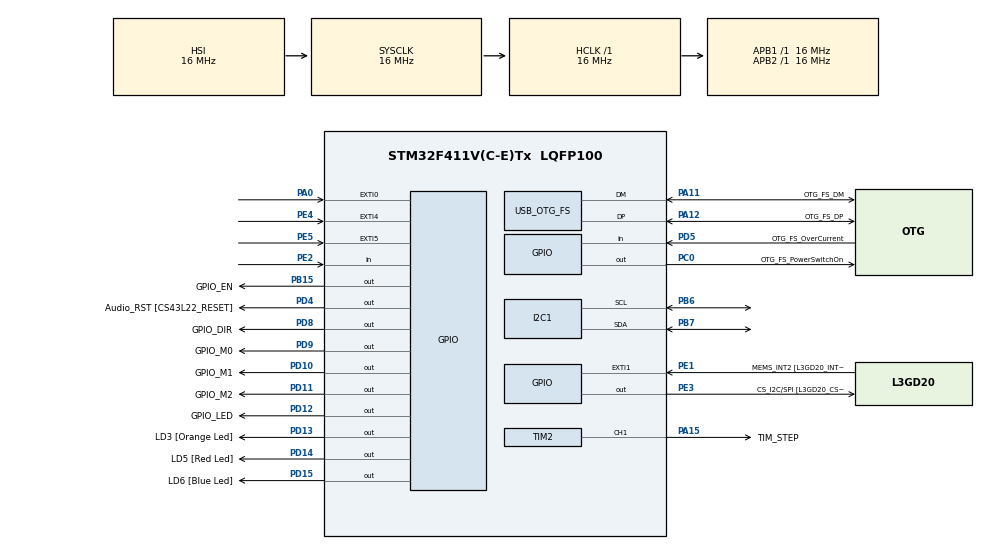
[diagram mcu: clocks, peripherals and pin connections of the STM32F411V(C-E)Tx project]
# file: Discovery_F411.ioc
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FREERTOS.Tasks01=defaultTask,24,128,StartDefaultTask,Default,NULL,Dynamic,NULL,NULL
FREERTOS.configUSE_NEWLIB_REENTRANT=1
Mcu.Family=STM32F4
Mcu.Name=STM32F411V(C-E)Tx
Mcu.Package=LQFP100
NVIC.EXTI0_IRQn=true\:5\:0\:false\:false\:true\:true\:true\:true\:true
NVIC.OTG_FS_IRQn=true\:5\:0\:false\:false\:true\:true\:false\:true\:true
NVIC.PVD_IRQn=true\:5\:0\:false\:false\:true\:true\:true\:true\:true
NVIC.PriorityGroup=NVIC_PRIORITYGROUP_4
NVIC.RCC_IRQn=true\:5\:0\:false\:false\:true\:true\:true\:false\:true
NVIC.TIM1_UP_TIM10_IRQn=true\:5\:0\:false\:false\:true\:true\:true\:true\:true
NVIC.TIM2_IRQn=true\:5\:0\:false\:false\:true\:true\:true\:true\:true
NVIC.TIM5_IRQn=true\:15\:0\:false\:false\:true\:false\:false\:true\:true
NVIC.TimeBase=TIM5_IRQn
NVIC.TimeBaseIP=TIM5
PA0-WKUP.Signal=GPXTI0
PA10.GPIO_Label=OTG_FS_ID
PA10.Signal=USB_OTG_FS_ID
PA11.GPIO_Label=OTG_FS_DM
PA11.Mode=Device_Only
PA11.Signal=USB_OTG_FS_DM
PA12.GPIO_Label=OTG_FS_DP
PA12.Mode=Device_Only
PA12.Signal=USB_OTG_FS_DP
PA13.GPIO_Label=SWDIO
PA13.Mode=Serial_Wire
PA13.Signal=SYS_JTMS-SWDIO
PA14.GPIO_Label=SWCLK
PA14.Mode=Serial_Wire
PA14.Signal=SYS_JTCK-SWCLK
PA15.GPIO_Label=TIM_STEP
PA15.Signal=S_TIM2_CH1_ETR
PA4.GPIO_Label=I2S3_WS [CS43L22_LRCK]
PA4.GPIO_Mode=GPIO_MODE_AF_PP
PA4.GPIO_PuPd=GPIO_NOPULL
PA4.GPIO_Speed=GPIO_SPEED_FREQ_LOW
PA4.Signal=I2S3_WS
PA5.GPIO_Label=SPI1_SCK [L3GD20_SC/SPC]
PA5.Signal=SPI1_SCK
PA6.GPIO_Label=SPI1_MISO [L3GD20_AS0/SDO]
PA6.Signal=SPI1_MISO
PA7.GPIO_Label=SPI1_MOSI [L3GD20_SDA/SDI/SDO]
PA7.Signal=SPI1_MOSI
PA9.GPIO_Label=VBUS_FS
PA9.Signal=USB_OTG_FS_VBUS
PB10.GPIO_Label=CLK_IN [MP45DT02_CLK]
PB10.Signal=I2S2_CK
PB12.Signal=I2S2_WS
PB15.GPIO_Label=GPIO_EN
PB15.Signal=GPIO_Output
PB3.GPIO_Label=SWO
PB3.Signal=SYS_JTDO-SWO
PB6.Mode=I2C
PB6.Signal=I2C1_SCL
PB7.Mode=I2C
PB7.Signal=I2C1_SDA
PC0.GPIO_Label=OTG_FS_PowerSwitchOn
PC0.PinState=GPIO_PIN_SET
PC0.Signal=GPIO_Output
PC10.GPIO_Label=I2S3_SCK [CS43L22_SCLK]
PC10.GPIO_Mode=GPIO_MODE_AF_PP
PC10.GPIO_PuPd=GPIO_NOPULL
PC10.GPIO_Speed=GPIO_SPEED_FREQ_LOW
PC10.Signal=I2S3_CK
PC12.GPIO_Label=I2S3_SD [CS43L22_SDIN]
PC12.GPIO_Mode=GPIO_MODE_AF_PP
PC12.GPIO_PuPd=GPIO_NOPULL
PC12.GPIO_Speed=GPIO_SPEED_FREQ_LOW
PC12.Signal=I2S3_SD
PC14-OSC32_IN.GPIO_Label=PC14-OSC32_IN
PC14-OSC32_IN.Signal=RCC_OSC32_IN
PC15-OSC32_OUT.GPIO_Label=PC15-OSC32_OUT
PC15-OSC32_OUT.Signal=RCC_OSC32_OUT
PC3.GPIO_Label=PDM_OUT [MP45DT02_DOUT]
PC3.Signal=I2S2_SD
PC7.GPIO_Label=I2S3_MCK [CS43L22_MCLK]
PC7.GPIO_Mode=GPIO_MODE_AF_PP
PC7.GPIO_PuPd=GPIO_NOPULL
PC7.GPIO_Speed=GPIO_SPEED_FREQ_LOW
PC7.Signal=I2S3_MCK
PD10.GPIO_Label=GPIO_M1
PD10.Signal=GPIO_Output
PD11.GPIO_Label=GPIO_M2
PD11.Signal=GPIO_Output
PD12.GPIO_Label=GPIO_LED
PD12.GPIO_PuPd=GPIO_NOPULL
PD12.GPIO_Speed=GPIO_SPEED_FREQ_LOW
PD12.Signal=GPIO_Output
PD13.GPIO_Label=LD3 [Orange Led]
PD13.GPIO_PuPd=GPIO_NOPULL
PD13.GPIO_Speed=GPIO_SPEED_FREQ_LOW
PD13.Signal=GPIO_Output
PD14.GPIO_Label=LD5 [Red Led]
PD14.GPIO_PuPd=GPIO_NOPULL
PD14.GPIO_Speed=GPIO_SPEED_FREQ_LOW
PD14.Signal=GPIO_Output
PD15.GPIO_Label=LD6 [Blue Led]
PD15.GPIO_PuPd=GPIO_NOPULL
PD15.GPIO_Speed=GPIO_SPEED_FREQ_LOW
PD15.Signal=GPIO_Output
PD4.GPIO_Label=Audio_RST [CS43L22_RESET]
PD4.Signal=GPIO_Output
PD5.GPIO_Label=OTG_FS_OverCurrent
PD5.Signal=GPIO_Input
PD8.GPIO_Label=GPIO_DIR
PD8.Signal=GPIO_Output
PD9.GPIO_Label=GPIO_M0
PD9.Signal=GPIO_Output
PE1.GPIO_Label=MEMS_INT2 [L3GD20_INT2]
PE1.GPIO_ModeDefaultEXTI=GPIO_MODE_EVT_RISING
PE1.Signal=GPXTI1
PE2.Signal=GPIO_Input
PE3.GPIO_Label=CS_I2C/SPI [L3GD20_CS_I2C/SPI]
PE3.Signal=GPIO_Output
PE4.GPIO_ModeDefaultEXTI=GPIO_MODE_EVT_RISING
PE4.Signal=GPXTI4
PE5.GPIO_ModeDefaultEXTI=GPIO_MODE_EVT_RISING
PE5.Signal=GPXTI5
PH0\ -\ OSC_IN.GPIO_Label=PH0-OSC_IN
PH0\ -\ OSC_IN.Mode=HSE-External-Oscillator
PH0\ -\ OSC_IN.Signal=RCC_OSC_IN
PH1\ -\ OSC_OUT.GPIO_Label=PH1-OSC_OUT
PH1\ -\ OSC_OUT.Mode=HSE-External-Oscillator
PH1\ -\ OSC_OUT.Signal=RCC_OSC_OUT
ProjectManager.HeapSize=0x200
ProjectManager.StackSize=0x400
ProjectManager.TargetToolchain=STM32CubeIDE
RCC.48MHZClocksFreq_Value=48000000
RCC.AHBFreq_Value=16000000
RCC.APB1Freq_Value=16000000
RCC.APB1TimFreq_Value=16000000
RCC.APB2Freq_Value=16000000
RCC.APB2TimFreq_Value=16000000
RCC.CortexFreq_Value=16000000
RCC.HCLKFreq_Value=16000000
RCC.HSE_VALUE=16000000
RCC.HSI_VALUE=16000000
RCC.LSE_VALUE=32768
RCC.PLLI2SM=5
RCC.PLLI2SN=200
RCC.PLLM=8
RCC.PLLP=RCC_PLLP_DIV4
RCC.PLLQ=8
RCC.SYSCLKFreq_VALUE=16000000
RCC.VCOOutputFreq_Value=384000000
SH.S_TIM2_CH1_ETR.0=TIM2_CH1,Output Compare1 CH1
TIM1.AutoReloadPreload=TIM_AUTORELOAD_PRELOAD_ENABLE
TIM1.Period=999
TIM1.Prescaler=15
TIM2.Channel-Output\ Compare1\ CH1=TIM_CHANNEL_1
TIM2.Period=65536
TIM2.Prescaler=15
USB_DEVICE.CLASS_NAME_FS=CUSTOM_HID
USB_DEVICE.VirtualMode=CustomHid
USB_DEVICE.VirtualModeFS=Custom_Hid_FS
USB_OTG_FS.VirtualMode=Device_Only
VP_FREERTOS_VS_CMSIS_V2.Mode=CMSIS_V2
VP_SYS_VS_tim5.Mode=TIM5
VP_TIM1_VS_ClockSourceINT.Mode=Internal
VP_TIM2_VS_ClockSourceINT.Mode=Internal
VP_USB_DEVICE_VS_USB_DEVICE_CUSTOM_HID_FS.Mode=CUSTOM_HID_FS
board=STM32F411E-DISCO

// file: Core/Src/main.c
/* USER CODE BEGIN Header */
/**
  ******************************************************************************
  * @file           : main.c
  * @brief          : Main program body
  ******************************************************************************
  * @attention
  *
  * Copyright (c) 2026 STMicroelectronics.
  * All rights reserved.
  *
  * This software is licensed under terms that can be found in the LICENSE file
  * in the root directory of this software component.
  * If no LICENSE file comes with this software, it is provided AS-IS.
  *
  ******************************************************************************
  */
/* USER CODE END Header */
#include "main.h"
#include "cmsis_os.h"
#include "i2c.h"
#include "tim.h"
#include "usb_device.h"
#include "gpio.h"

/* USER CODE BEGIN Includes */
#include "FreeRTOS.h"
#include "task.h"
#include "semphr.h"
#include "stepper.h"

/* USER CODE END Includes */

/* USER CODE BEGIN PTD */

// Estructura para almacenar los datos procesados
typedef struct {
    uint16_t raw_angle;
    int32_t rotations;
    float total_degrees;
} EncoderData_t;

/* USER CODE END PTD */

/* USER CODE BEGIN PD */
#define AS5600_ADDR (0x36 << 1)
#define ANGLE_REG_MSB 0x0E

/* USER CODE END PD */

/* USER CODE BEGIN PV */
EncoderData_t sensor_data = {0};
Stepper_Handler motor = {0};
SemaphoreHandle_t xBinarySemaphore = NULL;
SemaphoreHandle_t xEndMovementSemaphore = NULL;

/* USER CODE END PV */

void SystemClock_Config(void);
void MX_FREERTOS_Init(void);
/* USER CODE BEGIN PFP */
void AppInit(void * pvParameters);
void StartStepperTask(void *argument);
void StartEncoderTask(void *argument);
/* USER CODE END PFP */

int main(void)
{

  /* MCU Configuration--------------------------------------------------------*/

  /* Reset of all peripherals, Initializes the Flash interface and the Systick. */
  HAL_Init();

  /* Configure the system clock */
  SystemClock_Config();

  /* Initialize all configured peripherals */
  MX_GPIO_Init();
  MX_I2C1_Init();
  MX_TIM1_Init();
  MX_TIM2_Init();
  /* USER CODE BEGIN 2 */

  xTaskCreate(AppInit, "TaskCreate", 100, NULL, 3, NULL);
  vTaskStartScheduler();
  /* USER CODE END 2 */

  /* Init scheduler */
  osKernelInitialize();  /* Call init function for freertos objects (in cmsis_os2.c) */
  MX_FREERTOS_Init();

  /* Start scheduler */
  osKernelStart();

  /* We should never get here as control is now taken by the scheduler */

  /* Infinite loop */
  while (1)
  {

  }
}

void SystemClock_Config(void)
{
  RCC_OscInitTypeDef RCC_OscInitStruct = {0};
  RCC_ClkInitTypeDef RCC_ClkInitStruct = {0};

  /** Configure the main internal regulator output voltage
  */
  __HAL_RCC_PWR_CLK_ENABLE();
  __HAL_PWR_VOLTAGESCALING_CONFIG(PWR_REGULATOR_VOLTAGE_SCALE1);

  /** Initializes the RCC Oscillators according to the specified parameters
  * in the RCC_OscInitTypeDef structure.
  */
  RCC_OscInitStruct.OscillatorType = RCC_OSCILLATORTYPE_HSI|RCC_OSCILLATORTYPE_HSE;
  RCC_OscInitStruct.HSEState = RCC_HSE_ON;
  RCC_OscInitStruct.HSIState = RCC_HSI_ON;
  RCC_OscInitStruct.HSICalibrationValue = RCC_HSICALIBRATION_DEFAULT;
  RCC_OscInitStruct.PLL.PLLState = RCC_PLL_ON;
  RCC_OscInitStruct.PLL.PLLSource = RCC_PLLSOURCE_HSE;
  RCC_OscInitStruct.PLL.PLLM = 8;
  RCC_OscInitStruct.PLL.PLLN = 192;
  RCC_OscInitStruct.PLL.PLLP = RCC_PLLP_DIV4;
  RCC_OscInitStruct.PLL.PLLQ = 8;
  if (HAL_RCC_OscConfig(&RCC_OscInitStruct) != HAL_OK)
  {
    Error_Handler();
  }

  /** Initializes the CPU, AHB and APB buses clocks
  */
  RCC_ClkInitStruct.ClockType = RCC_CLOCKTYPE_HCLK|RCC_CLOCKTYPE_SYSCLK
                              |RCC_CLOCKTYPE_PCLK1|RCC_CLOCKTYPE_PCLK2;
  RCC_ClkInitStruct.SYSCLKSource = RCC_SYSCLKSOURCE_HSI;
  RCC_ClkInitStruct.AHBCLKDivider = RCC_SYSCLK_DIV1;
  RCC_ClkInitStruct.APB1CLKDivider = RCC_HCLK_DIV1;
  RCC_ClkInitStruct.APB2CLKDivider = RCC_HCLK_DIV1;

  if (HAL_RCC_ClockConfig(&RCC_ClkInitStruct, FLASH_LATENCY_0) != HAL_OK)
  {
    Error_Handler();
  }
}

/* USER CODE BEGIN 4 */
void AppInit(void * pvParameters){

	xBinarySemaphore = xSemaphoreCreateBinary();
	xEndMovementSemaphore = xSemaphoreCreateBinary();

	if(xBinarySemaphore  == NULL) {
		// Error al crear el semáforo
		HAL_Delay(1000);
	}

	xTaskCreate(StartEncoderTask, "EncoderTask", 100, NULL, 2, NULL);
	xTaskCreate(StartStepperTask, "MotorTask", 100, NULL, 1, NULL);

	for(;;){
		HAL_GPIO_TogglePin(GPIOD, GPIO_PIN_14);
		vTaskDelay(pdMS_TO_TICKS(2000));
	}
}

void StartStepperTask(void *argument) {
	// Inicialización del motor (usando tu nueva librería)
	    motor.step = (Stepper_Pin){GPIOC, GPIO_PIN_2};
	    motor.dir  = (Stepper_Pin){GPIOC, GPIO_PIN_1};
	    motor.htim = &htim3;
	    motor.channel = TIM_CHANNEL_1;
	    motor.m0 = (Stepper_Pin){GPIOD, GPIO_PIN_9};
	    motor.m1 = (Stepper_Pin){GPIOD, GPIO_PIN_10};
	    motor.m2 = (Stepper_Pin){GPIOD, GPIO_PIN_11};
	    Stepper_Init(&motor);
	    Stepper_SetMicrostepping(&motor, STEP_FULL); // 200 pasos por vuelta

	    for(;;){
	    	//Me bloqueo en el semaforo hasta que presionen un boton
	    	if(xSemaphoreTake(xBinarySemaphore, portMAX_DELAY) == pdPASS) {
	    		Stepper_Move(&motor, 200, 500);
				vTaskDelay(pdMS_TO_TICKS(2000));
	    	}
	    }
}

/* Función que se ejecuta cuando presionas el botón */
void HAL_GPIO_EXTI_Callback(uint16_t GPIO_Pin)
{
    if(GPIO_Pin == GPIO_PIN_0) // Verificamos que sea el pin PA0
    {
        // Libero el semaforo para mover el motor
    	BaseType_t xHigherPriorityTaskWoken;

    	 xHigherPriorityTaskWoken = pdFALSE;

    	 xSemaphoreGiveFromISR( xBinarySemaphore, &xHigherPriorityTaskWoken );

    	 portYIELD_FROM_ISR( xHigherPriorityTaskWoken );

    }
}

void HAL_TIM_OC_DelayElapsedCallback(TIM_HandleTypeDef *htim) {
    if (htim->Instance == TIM3) {
        if (motor.steps_to_move > 0) {
            uint32_t val = __HAL_TIM_GET_COMPARE(htim, motor.channel);
            __HAL_TIM_SET_COMPARE(htim, motor.channel, val + motor.period_ticks);
            motor.steps_to_move--;
        } else {
            HAL_TIM_OC_Stop_IT(htim, motor.channel);

            // DAMOS EL SEMÁFORO: El motor se detuvo físicamente
            BaseType_t xHigherPriorityTaskWoken = pdFALSE;
            xSemaphoreGiveFromISR(xEndMovementSemaphore, &xHigherPriorityTaskWoken);
            portYIELD_FROM_ISR(xHigherPriorityTaskWoken);
        }
    }
}

void StartEncoderTask(void *argument) {
    uint8_t buffer[2];
    uint16_t last_raw = 0;

    // El periodo de muestreo (ej: 10ms = 100Hz)
    TickType_t xLastWakeTime = xTaskGetTickCount();
    const TickType_t xFrequency = pdMS_TO_TICKS(10);

    for(;;) {
        // 1. Leer el encoder vía I2C
        if (HAL_I2C_Mem_Read(&hi2c1, AS5600_ADDR, ANGLE_REG_MSB, I2C_MEMADD_SIZE_8BIT, buffer, 2, 5) == HAL_OK) {

            sensor_data.raw_angle = ((uint16_t)buffer[0] << 8) | buffer[1];

            // 2. Lógica de conteo de vueltas
            int16_t diff = sensor_data.raw_angle - last_raw;
            if (diff > 2048) sensor_data.rotations--;
            else if (diff < -2048) sensor_data.rotations++;

            last_raw = sensor_data.raw_angle;

            // 3. Calcular ángulo acumulado
            sensor_data.total_degrees = (sensor_data.rotations * 360.0f) + (sensor_data.raw_angle * 360.0f / 4096.0f);
        }

        // Esperar de forma eficiente hasta el próximo ciclo
        vTaskDelayUntil(&xLastWakeTime, xFrequency);
    }
}
/* USER CODE END 4 */

void HAL_TIM_PeriodElapsedCallback(TIM_HandleTypeDef *htim)
{
  if (htim->Instance == TIM5)
  {
    HAL_IncTick();
  }
}

void Error_Handler(void)
{
  __disable_irq();
  while (1)
  {
  }
}
